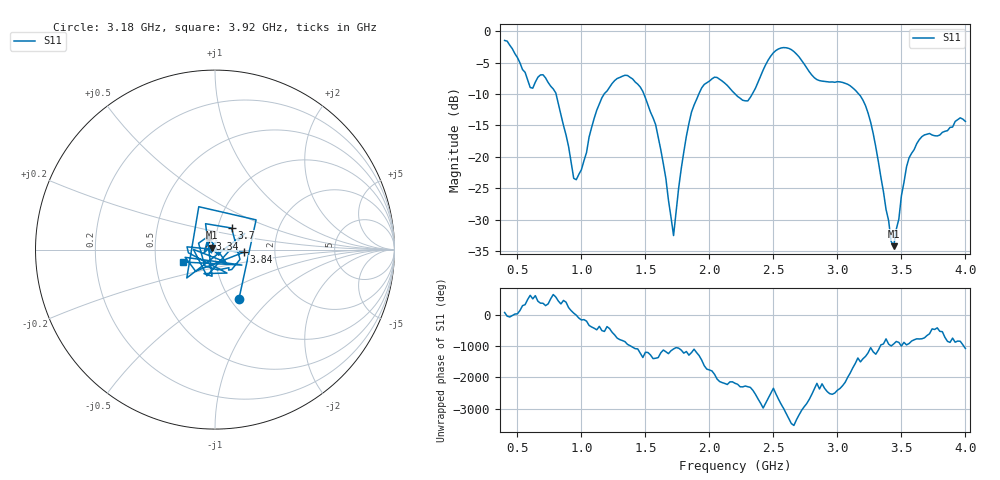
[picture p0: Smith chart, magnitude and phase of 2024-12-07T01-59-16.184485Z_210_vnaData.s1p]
!Created with skrf (http://scikit-rf.org).
# Hz S RI R 50.0
!freq ReS11 ImS11
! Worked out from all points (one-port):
!   181 points, 400 MHz to 4 GHz, reference 50 ohm
!   lowest |S11| = -34.2 dB at 3.44 GHz (marker M1), VSWR 1.04, Z = 48.4 + j1.07 ohm
!   |S11| at or under -10 dB: 802.1 MHz to 1.177 GHz (375 MHz wide, 37.9 % of centre); 1.488 GHz to 1.917 GHz (428.8 MHz wide, 25.2 % of centre); 3.168 GHz to end of sweep (the widest 3 of 4)
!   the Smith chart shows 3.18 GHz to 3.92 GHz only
!   S11 on the Smith chart (normalised r, x): 3.18 GHz: 1.10, -0.67; 3.34 GHz: 0.93, +0.12; 3.7 GHz: 1.17, +0.29; 3.84 GHz: 1.38, -0.04; 3.92 GHz: 0.69, -0.10
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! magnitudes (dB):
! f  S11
! 400 MHz  -1.4
! 600 MHz  -8.9
! 780 MHz  -9.2
! 860 MHz  -15.0
! 960 MHz  -23.6
! 1.16 GHz  -10.6
! 1.3 GHz  -7.3
! 1.46 GHz  -8.9
! 1.58 GHz  -14.9
! 1.72 GHz  -32.5
! 1.76 GHz  -24.9
! 1.86 GHz  -12.9
! 1.94 GHz  -9.0
! 2.2 GHz  -10.0
! 2.3 GHz  -11.1
! 2.5 GHz  -3.4
! 2.66 GHz  -3.2
! 2.84 GHz  -7.7
! 3.1 GHz  -8.7
! 3.18 GHz  -10.3
! 3.26 GHz  -14.5
! 3.34 GHz  -23.3
! 3.44 GHz  -34.2
! 3.56 GHz  -20.2
! 3.7 GHz  -16.4
! 3.84 GHz  -15.9
! 3.92 GHz  -14.4
! 4 GHz  -14.3
